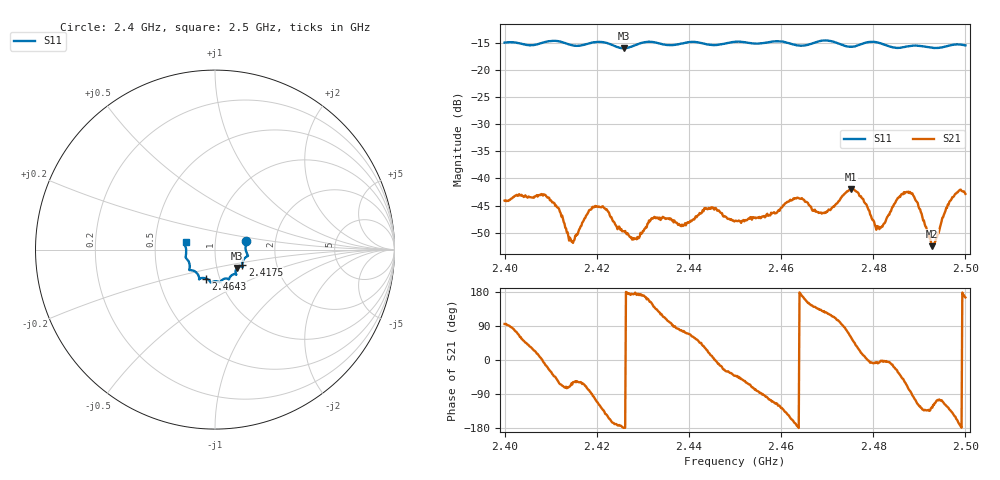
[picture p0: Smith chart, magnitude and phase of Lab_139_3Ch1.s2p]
# Hz S RI R 50
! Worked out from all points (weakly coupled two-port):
!   601 points, 2.4 GHz to 2.5 GHz, reference 50 ohm
!   highest |S21| = -41.93 dB at 2.4752 GHz (marker M1); lowest = -52.5 dB at 2.4927 GHz (marker M2)
!   lowest |S11| = -15.9 dB at 2.4258 GHz (marker M3), VSWR 1.38, Z = 62.3 - j13.2 ohm
!   |S11| at or under -10 dB: start of sweep to end of sweep
!   S12 and S22 are empty: the file has one direction only
!   S11 on the Smith chart (normalised r, x): 2.4 GHz: 1.41, +0.14; 2.4175 GHz: 1.33, -0.23; 2.4643 GHz: 0.86, -0.29; 2.5 GHz: 0.72, +0.06
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2.4e9  0.1735 0.0487  -0.000549 0.00623  0 0  0 0
2.409e9  0.181 -0.0286  0.00666 -0.00176  0 0  0 0
2.4145e9  0.1632 -0.0501  0.00124 -0.00231  0 0  0 0
2.416667e9  0.1528 -0.074  0.00185 -0.00314  0 0  0 0
2.4175e9  0.1517 -0.0836  0.00156 -0.00402  0 0  0 0
2.421333e9  0.1541 -0.0966  -0.00368 -0.00413  0 0  0 0
2.425833e9  0.1219 -0.1031  -0.00326 -4.53e-05  0 0  0 0
2.428833e9  0.115 -0.1305  -0.00287 0.000269  0 0  0 0
2.433333e9  0.1133 -0.1371  -0.00271 0.00339  0 0  0 0
2.4385e9  0.0812 -0.1572  0.000844 0.00365  0 0  0 0
2.444833e9  0.0573 -0.1615  0.0053 0.0011  0 0  0 0
2.45e9  0.0283 -0.1812  0.00302 -0.00268  0 0  0 0
2.464333e9  -0.0502 -0.161  -0.00646 0.000805  0 0  0 0
2.466667e9  -0.0765 -0.159  -0.00423 0.00303  0 0  0 0
2.469667e9  -0.0891 -0.166  -0.00282 0.00389  0 0  0 0
2.475167e9  -0.1077 -0.1247  0.00401 0.00693  0 0  0 0
2.480833e9  -0.1435 -0.1103  0.00362 -0.000369  0 0  0 0
2.483333e9  -0.1407 -0.0898  0.0046 -0.000442  0 0  0 0
2.488167e9  -0.1611 -0.0482  0.000647 -0.00726  0 0  0 0
2.492667e9  -0.1604 -0.0177  -0.00137 -0.00193  0 0  0 0
2.497e9  -0.1689 0.0275  -0.0047 -0.00444  0 0  0 0
2.5e9  -0.1642 0.0427  -0.00697 0.00185  0 0  0 0
